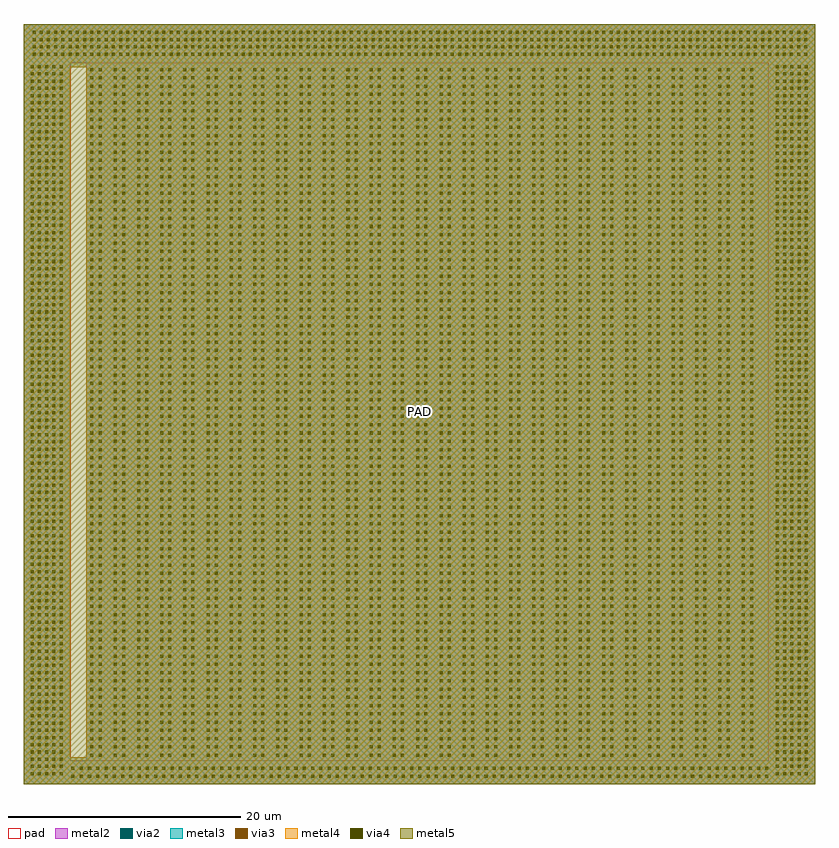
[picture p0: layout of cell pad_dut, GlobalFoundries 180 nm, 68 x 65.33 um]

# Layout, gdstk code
import gdstk
lib = gdstk.Library(unit=1e-6, precision=1e-09)
def R(c, l, rs):  # rectangles x0, y0, x1, y1
    for r in rs: c.add(gdstk.rectangle(r[:2], r[2:], *l))
def A(c, l, x, y, w, h, nx, ny, dx, dy):  # array of equal rectangles
    R(c, l, [(x+i*dx, y+j*dy, x+i*dx+w, y+j*dy+h) for i in range(nx) for j in range(ny)])
def P(c, l, *ps):  # polygons
    for p in ps: c.add(gdstk.Polygon(p, *l))
metal2 = (36, 0)
pad = (37, 0)
via2 = (38, 0)
via3 = (40, 0)
via4 = (41, 0)
metal3 = (42, 0)
metal4 = (46, 0)
metal5 = (81, 0)

pad_dut = lib.new_cell('pad_dut')
P(pad_dut, metal2, [(-2,0),(-2,62),(2,62),(2,2),(3.34,2),(3.34,62),(-2,62),(-2,65.325),(66,65.325),(66,0)])
R(pad_dut, pad, [(2,2,62,62)])
A(pad_dut, via2, 2.085, 0.53, 0.26, 0.26, 85, 2, 0.71, 0.71)
A(pad_dut, via2, -1.42, 0.76, 0.26, 0.26, 5, 99, 0.62, 0.62)
A(pad_dut, via2, 62.64, 0.76, 0.26, 0.26, 5, 99, 0.62, 0.62)
A(pad_dut, via2, 3.715, 2.35, 0.26, 0.26, 1, 84, 0, 0.71)
A(pad_dut, via2, 4.425, 2.35, 0.26, 0.26, 1, 84, 0, 0.71)
A(pad_dut, via2, 5.72, 2.35, 0.26, 0.26, 1, 84, 0, 0.71)
A(pad_dut, via2, 6.43, 2.35, 0.26, 0.26, 1, 84, 0, 0.71)
A(pad_dut, via2, 7.72, 2.35, 0.26, 0.26, 1, 84, 0, 0.71)
A(pad_dut, via2, 8.43, 2.35, 0.26, 0.26, 1, 84, 0, 0.71)
A(pad_dut, via2, 9.705, 2.35, 0.26, 0.26, 1, 84, 0, 0.71)
A(pad_dut, via2, 10.415, 2.35, 0.26, 0.26, 1, 84, 0, 0.71)
A(pad_dut, via2, 11.69, 2.35, 0.26, 0.26, 1, 84, 0, 0.71)
A(pad_dut, via2, 12.4, 2.35, 0.26, 0.26, 1, 84, 0, 0.71)
A(pad_dut, via2, 13.71, 2.35, 0.26, 0.26, 1, 84, 0, 0.71)
A(pad_dut, via2, 14.42, 2.35, 0.26, 0.26, 1, 84, 0, 0.71)
A(pad_dut, via2, 15.69, 2.35, 0.26, 0.26, 1, 84, 0, 0.71)
A(pad_dut, via2, 16.4, 2.35, 0.26, 0.26, 1, 84, 0, 0.71)
A(pad_dut, via2, 17.69, 2.35, 0.26, 0.26, 1, 84, 0, 0.71)
A(pad_dut, via2, 18.4, 2.35, 0.26, 0.26, 1, 84, 0, 0.71)
A(pad_dut, via2, 19.675, 2.35, 0.26, 0.26, 1, 84, 0, 0.71)
A(pad_dut, via2, 20.385, 2.35, 0.26, 0.26, 1, 84, 0, 0.71)
A(pad_dut, via2, 21.7, 2.35, 0.26, 0.26, 1, 84, 0, 0.71)
A(pad_dut, via2, 22.41, 2.35, 0.26, 0.26, 1, 84, 0, 0.71)
A(pad_dut, via2, 23.7, 2.35, 0.26, 0.26, 1, 84, 0, 0.71)
A(pad_dut, via2, 24.41, 2.35, 0.26, 0.26, 1, 84, 0, 0.71)
A(pad_dut, via2, 25.725, 2.35, 0.26, 0.26, 1, 84, 0, 0.71)
A(pad_dut, via2, 26.435, 2.35, 0.26, 0.26, 1, 84, 0, 0.71)
A(pad_dut, via2, 27.71, 2.35, 0.26, 0.26, 1, 84, 0, 0.71)
A(pad_dut, via2, 28.42, 2.35, 0.26, 0.26, 1, 84, 0, 0.71)
A(pad_dut, via2, 29.695, 2.35, 0.26, 0.26, 1, 84, 0, 0.71)
A(pad_dut, via2, 30.405, 2.35, 0.26, 0.26, 1, 84, 0, 0.71)
A(pad_dut, via2, 31.71, 2.35, 0.26, 0.26, 1, 84, 0, 0.71)
A(pad_dut, via2, 32.42, 2.35, 0.26, 0.26, 1, 84, 0, 0.71)
A(pad_dut, via2, 33.72, 2.35, 0.26, 0.26, 1, 84, 0, 0.71)
A(pad_dut, via2, 34.43, 2.35, 0.26, 0.26, 1, 84, 0, 0.71)
A(pad_dut, via2, 35.735, 2.35, 0.26, 0.26, 1, 84, 0, 0.71)
A(pad_dut, via2, 36.445, 2.35, 0.26, 0.26, 1, 84, 0, 0.71)
A(pad_dut, via2, 37.705, 2.35, 0.26, 0.26, 1, 84, 0, 0.71)
A(pad_dut, via2, 38.415, 2.35, 0.26, 0.26, 1, 84, 0, 0.71)
A(pad_dut, via2, 39.71, 2.35, 0.26, 0.26, 1, 84, 0, 0.71)
A(pad_dut, via2, 40.42, 2.35, 0.26, 0.26, 1, 84, 0, 0.71)
A(pad_dut, via2, 41.71, 2.35, 0.26, 0.26, 1, 84, 0, 0.71)
A(pad_dut, via2, 42.42, 2.35, 0.26, 0.26, 1, 84, 0, 0.71)
A(pad_dut, via2, 43.695, 2.35, 0.26, 0.26, 1, 84, 0, 0.71)
A(pad_dut, via2, 44.405, 2.35, 0.26, 0.26, 1, 84, 0, 0.71)
A(pad_dut, via2, 45.68, 2.35, 0.26, 0.26, 1, 84, 0, 0.71)
A(pad_dut, via2, 46.39, 2.35, 0.26, 0.26, 1, 84, 0, 0.71)
A(pad_dut, via2, 47.7, 2.35, 0.26, 0.26, 1, 84, 0, 0.71)
A(pad_dut, via2, 48.41, 2.35, 0.26, 0.26, 1, 84, 0, 0.71)
A(pad_dut, via2, 49.68, 2.35, 0.26, 0.26, 1, 84, 0, 0.71)
A(pad_dut, via2, 50.39, 2.35, 0.26, 0.26, 1, 84, 0, 0.71)
A(pad_dut, via2, 51.68, 2.35, 0.26, 0.26, 1, 84, 0, 0.71)
A(pad_dut, via2, 52.39, 2.35, 0.26, 0.26, 1, 84, 0, 0.71)
A(pad_dut, via2, 53.665, 2.35, 0.26, 0.26, 1, 84, 0, 0.71)
A(pad_dut, via2, 54.375, 2.35, 0.26, 0.26, 1, 84, 0, 0.71)
A(pad_dut, via2, 55.69, 2.35, 0.26, 0.26, 1, 84, 0, 0.71)
A(pad_dut, via2, 56.4, 2.35, 0.26, 0.26, 1, 84, 0, 0.71)
A(pad_dut, via2, 57.69, 2.35, 0.26, 0.26, 1, 84, 0, 0.71)
A(pad_dut, via2, 58.4, 2.35, 0.26, 0.26, 1, 84, 0, 0.71)
A(pad_dut, via2, 59.715, 2.35, 0.26, 0.26, 1, 84, 0, 0.71)
A(pad_dut, via2, 60.425, 2.35, 0.26, 0.26, 1, 84, 0, 0.71)
A(pad_dut, via2, -1.26, 62.615, 0.26, 0.26, 108, 4, 0.62, 0.62)
A(pad_dut, via3, 2.085, 0.53, 0.26, 0.26, 85, 2, 0.71, 0.71)
A(pad_dut, via3, -1.42, 0.76, 0.26, 0.26, 5, 99, 0.62, 0.62)
A(pad_dut, via3, 62.64, 0.76, 0.26, 0.26, 5, 99, 0.62, 0.62)
A(pad_dut, via3, 3.715, 2.35, 0.26, 0.26, 1, 84, 0, 0.71)
A(pad_dut, via3, 4.425, 2.35, 0.26, 0.26, 1, 84, 0, 0.71)
A(pad_dut, via3, 5.72, 2.35, 0.26, 0.26, 1, 84, 0, 0.71)
A(pad_dut, via3, 6.43, 2.35, 0.26, 0.26, 1, 84, 0, 0.71)
A(pad_dut, via3, 7.72, 2.35, 0.26, 0.26, 1, 84, 0, 0.71)
A(pad_dut, via3, 8.43, 2.35, 0.26, 0.26, 1, 84, 0, 0.71)
A(pad_dut, via3, 9.705, 2.35, 0.26, 0.26, 1, 84, 0, 0.71)
A(pad_dut, via3, 10.415, 2.35, 0.26, 0.26, 1, 84, 0, 0.71)
A(pad_dut, via3, 11.69, 2.35, 0.26, 0.26, 1, 84, 0, 0.71)
A(pad_dut, via3, 12.4, 2.35, 0.26, 0.26, 1, 84, 0, 0.71)
A(pad_dut, via3, 13.71, 2.35, 0.26, 0.26, 1, 84, 0, 0.71)
A(pad_dut, via3, 14.42, 2.35, 0.26, 0.26, 1, 84, 0, 0.71)
A(pad_dut, via3, 15.69, 2.35, 0.26, 0.26, 1, 84, 0, 0.71)
A(pad_dut, via3, 16.4, 2.35, 0.26, 0.26, 1, 84, 0, 0.71)
A(pad_dut, via3, 17.69, 2.35, 0.26, 0.26, 1, 84, 0, 0.71)
A(pad_dut, via3, 18.4, 2.35, 0.26, 0.26, 1, 84, 0, 0.71)
A(pad_dut, via3, 19.675, 2.35, 0.26, 0.26, 1, 84, 0, 0.71)
A(pad_dut, via3, 20.385, 2.35, 0.26, 0.26, 1, 84, 0, 0.71)
A(pad_dut, via3, 21.7, 2.35, 0.26, 0.26, 1, 84, 0, 0.71)
A(pad_dut, via3, 22.41, 2.35, 0.26, 0.26, 1, 84, 0, 0.71)
A(pad_dut, via3, 23.7, 2.35, 0.26, 0.26, 1, 84, 0, 0.71)
A(pad_dut, via3, 24.41, 2.35, 0.26, 0.26, 1, 84, 0, 0.71)
A(pad_dut, via3, 25.725, 2.35, 0.26, 0.26, 1, 84, 0, 0.71)
A(pad_dut, via3, 26.435, 2.35, 0.26, 0.26, 1, 84, 0, 0.71)
A(pad_dut, via3, 27.71, 2.35, 0.26, 0.26, 1, 84, 0, 0.71)
A(pad_dut, via3, 28.42, 2.35, 0.26, 0.26, 1, 84, 0, 0.71)
A(pad_dut, via3, 29.695, 2.35, 0.26, 0.26, 1, 84, 0, 0.71)
A(pad_dut, via3, 30.405, 2.35, 0.26, 0.26, 1, 84, 0, 0.71)
A(pad_dut, via3, 31.71, 2.35, 0.26, 0.26, 1, 84, 0, 0.71)
A(pad_dut, via3, 32.42, 2.35, 0.26, 0.26, 1, 84, 0, 0.71)
A(pad_dut, via3, 33.72, 2.35, 0.26, 0.26, 1, 84, 0, 0.71)
A(pad_dut, via3, 34.43, 2.35, 0.26, 0.26, 1, 84, 0, 0.71)
A(pad_dut, via3, 35.735, 2.35, 0.26, 0.26, 1, 84, 0, 0.71)
A(pad_dut, via3, 36.445, 2.35, 0.26, 0.26, 1, 84, 0, 0.71)
A(pad_dut, via3, 37.705, 2.35, 0.26, 0.26, 1, 84, 0, 0.71)
A(pad_dut, via3, 38.415, 2.35, 0.26, 0.26, 1, 84, 0, 0.71)
A(pad_dut, via3, 39.71, 2.35, 0.26, 0.26, 1, 84, 0, 0.71)
A(pad_dut, via3, 40.42, 2.35, 0.26, 0.26, 1, 84, 0, 0.71)
A(pad_dut, via3, 41.71, 2.35, 0.26, 0.26, 1, 84, 0, 0.71)
A(pad_dut, via3, 42.42, 2.35, 0.26, 0.26, 1, 84, 0, 0.71)
A(pad_dut, via3, 43.695, 2.35, 0.26, 0.26, 1, 84, 0, 0.71)
A(pad_dut, via3, 44.405, 2.35, 0.26, 0.26, 1, 84, 0, 0.71)
A(pad_dut, via3, 45.68, 2.35, 0.26, 0.26, 1, 84, 0, 0.71)
A(pad_dut, via3, 46.39, 2.35, 0.26, 0.26, 1, 84, 0, 0.71)
A(pad_dut, via3, 47.7, 2.35, 0.26, 0.26, 1, 84, 0, 0.71)
A(pad_dut, via3, 48.41, 2.35, 0.26, 0.26, 1, 84, 0, 0.71)
A(pad_dut, via3, 49.68, 2.35, 0.26, 0.26, 1, 84, 0, 0.71)
A(pad_dut, via3, 50.39, 2.35, 0.26, 0.26, 1, 84, 0, 0.71)
A(pad_dut, via3, 51.68, 2.35, 0.26, 0.26, 1, 84, 0, 0.71)
A(pad_dut, via3, 52.39, 2.35, 0.26, 0.26, 1, 84, 0, 0.71)
A(pad_dut, via3, 53.665, 2.35, 0.26, 0.26, 1, 84, 0, 0.71)
A(pad_dut, via3, 54.375, 2.35, 0.26, 0.26, 1, 84, 0, 0.71)
A(pad_dut, via3, 55.69, 2.35, 0.26, 0.26, 1, 84, 0, 0.71)
A(pad_dut, via3, 56.4, 2.35, 0.26, 0.26, 1, 84, 0, 0.71)
A(pad_dut, via3, 57.69, 2.35, 0.26, 0.26, 1, 84, 0, 0.71)
A(pad_dut, via3, 58.4, 2.35, 0.26, 0.26, 1, 84, 0, 0.71)
A(pad_dut, via3, 59.715, 2.35, 0.26, 0.26, 1, 84, 0, 0.71)
A(pad_dut, via3, 60.425, 2.35, 0.26, 0.26, 1, 84, 0, 0.71)
A(pad_dut, via3, -1.26, 62.615, 0.26, 0.26, 108, 4, 0.62, 0.62)
A(pad_dut, via4, 2.085, 0.53, 0.26, 0.26, 85, 2, 0.71, 0.71)
A(pad_dut, via4, -1.42, 0.76, 0.26, 0.26, 5, 99, 0.62, 0.62)
A(pad_dut, via4, 62.64, 0.76, 0.26, 0.26, 5, 99, 0.62, 0.62)
A(pad_dut, via4, 3.715, 2.35, 0.26, 0.26, 1, 84, 0, 0.71)
A(pad_dut, via4, 4.425, 2.35, 0.26, 0.26, 1, 84, 0, 0.71)
A(pad_dut, via4, 5.72, 2.35, 0.26, 0.26, 1, 84, 0, 0.71)
A(pad_dut, via4, 6.43, 2.35, 0.26, 0.26, 1, 84, 0, 0.71)
A(pad_dut, via4, 7.72, 2.35, 0.26, 0.26, 1, 84, 0, 0.71)
A(pad_dut, via4, 8.43, 2.35, 0.26, 0.26, 1, 84, 0, 0.71)
A(pad_dut, via4, 9.705, 2.35, 0.26, 0.26, 1, 84, 0, 0.71)
A(pad_dut, via4, 10.415, 2.35, 0.26, 0.26, 1, 84, 0, 0.71)
A(pad_dut, via4, 11.69, 2.35, 0.26, 0.26, 1, 84, 0, 0.71)
A(pad_dut, via4, 12.4, 2.35, 0.26, 0.26, 1, 84, 0, 0.71)
A(pad_dut, via4, 13.71, 2.35, 0.26, 0.26, 1, 84, 0, 0.71)
A(pad_dut, via4, 14.42, 2.35, 0.26, 0.26, 1, 84, 0, 0.71)
A(pad_dut, via4, 15.69, 2.35, 0.26, 0.26, 1, 84, 0, 0.71)
A(pad_dut, via4, 16.4, 2.35, 0.26, 0.26, 1, 84, 0, 0.71)
A(pad_dut, via4, 17.69, 2.35, 0.26, 0.26, 1, 84, 0, 0.71)
A(pad_dut, via4, 18.4, 2.35, 0.26, 0.26, 1, 84, 0, 0.71)
A(pad_dut, via4, 19.675, 2.35, 0.26, 0.26, 1, 84, 0, 0.71)
A(pad_dut, via4, 20.385, 2.35, 0.26, 0.26, 1, 84, 0, 0.71)
A(pad_dut, via4, 21.7, 2.35, 0.26, 0.26, 1, 84, 0, 0.71)
A(pad_dut, via4, 22.41, 2.35, 0.26, 0.26, 1, 84, 0, 0.71)
A(pad_dut, via4, 23.7, 2.35, 0.26, 0.26, 1, 84, 0, 0.71)
A(pad_dut, via4, 24.41, 2.35, 0.26, 0.26, 1, 84, 0, 0.71)
A(pad_dut, via4, 25.725, 2.35, 0.26, 0.26, 1, 84, 0, 0.71)
A(pad_dut, via4, 26.435, 2.35, 0.26, 0.26, 1, 84, 0, 0.71)
A(pad_dut, via4, 27.71, 2.35, 0.26, 0.26, 1, 84, 0, 0.71)
A(pad_dut, via4, 28.42, 2.35, 0.26, 0.26, 1, 84, 0, 0.71)
A(pad_dut, via4, 29.695, 2.35, 0.26, 0.26, 1, 84, 0, 0.71)
A(pad_dut, via4, 30.405, 2.35, 0.26, 0.26, 1, 84, 0, 0.71)
A(pad_dut, via4, 31.71, 2.35, 0.26, 0.26, 1, 84, 0, 0.71)
A(pad_dut, via4, 32.42, 2.35, 0.26, 0.26, 1, 84, 0, 0.71)
A(pad_dut, via4, 33.72, 2.35, 0.26, 0.26, 1, 84, 0, 0.71)
A(pad_dut, via4, 34.43, 2.35, 0.26, 0.26, 1, 84, 0, 0.71)
A(pad_dut, via4, 35.735, 2.35, 0.26, 0.26, 1, 84, 0, 0.71)
A(pad_dut, via4, 36.445, 2.35, 0.26, 0.26, 1, 84, 0, 0.71)
A(pad_dut, via4, 37.705, 2.35, 0.26, 0.26, 1, 84, 0, 0.71)
A(pad_dut, via4, 38.415, 2.35, 0.26, 0.26, 1, 84, 0, 0.71)
A(pad_dut, via4, 39.71, 2.35, 0.26, 0.26, 1, 84, 0, 0.71)
A(pad_dut, via4, 40.42, 2.35, 0.26, 0.26, 1, 84, 0, 0.71)
A(pad_dut, via4, 41.71, 2.35, 0.26, 0.26, 1, 84, 0, 0.71)
A(pad_dut, via4, 42.42, 2.35, 0.26, 0.26, 1, 84, 0, 0.71)
A(pad_dut, via4, 43.695, 2.35, 0.26, 0.26, 1, 84, 0, 0.71)
A(pad_dut, via4, 44.405, 2.35, 0.26, 0.26, 1, 84, 0, 0.71)
A(pad_dut, via4, 45.68, 2.35, 0.26, 0.26, 1, 84, 0, 0.71)
A(pad_dut, via4, 46.39, 2.35, 0.26, 0.26, 1, 84, 0, 0.71)
A(pad_dut, via4, 47.7, 2.35, 0.26, 0.26, 1, 84, 0, 0.71)
A(pad_dut, via4, 48.41, 2.35, 0.26, 0.26, 1, 84, 0, 0.71)
A(pad_dut, via4, 49.68, 2.35, 0.26, 0.26, 1, 84, 0, 0.71)
A(pad_dut, via4, 50.39, 2.35, 0.26, 0.26, 1, 84, 0, 0.71)
A(pad_dut, via4, 51.68, 2.35, 0.26, 0.26, 1, 84, 0, 0.71)
A(pad_dut, via4, 52.39, 2.35, 0.26, 0.26, 1, 84, 0, 0.71)
A(pad_dut, via4, 53.665, 2.35, 0.26, 0.26, 1, 84, 0, 0.71)
A(pad_dut, via4, 54.375, 2.35, 0.26, 0.26, 1, 84, 0, 0.71)
A(pad_dut, via4, 55.69, 2.35, 0.26, 0.26, 1, 84, 0, 0.71)
A(pad_dut, via4, 56.4, 2.35, 0.26, 0.26, 1, 84, 0, 0.71)
A(pad_dut, via4, 57.69, 2.35, 0.26, 0.26, 1, 84, 0, 0.71)
A(pad_dut, via4, 58.4, 2.35, 0.26, 0.26, 1, 84, 0, 0.71)
A(pad_dut, via4, 59.715, 2.35, 0.26, 0.26, 1, 84, 0, 0.71)
A(pad_dut, via4, 60.425, 2.35, 0.26, 0.26, 1, 84, 0, 0.71)
A(pad_dut, via4, -1.26, 62.615, 0.26, 0.26, 108, 4, 0.62, 0.62)
P(pad_dut, metal3, [(-2,0),(-2,61.6),(2,61.6),(2,2.29),(3.34,2.29),(3.34,61.6),(-2,61.6),(-2,65.325),(66,65.325),(66,0)])
P(pad_dut, metal4, [(-2,0),(-2,61.6),(2,61.6),(2,2.29),(3.34,2.29),(3.34,61.6),(-2,61.6),(-2,65.325),(66,65.325),(66,0)])
R(pad_dut, metal5, [(-2,0,66,65.325)])
pad_dut.add(gdstk.Label('PAD', (32,32), layer=81, texttype=10))

lib.write_gds('pad_dut.gds')
